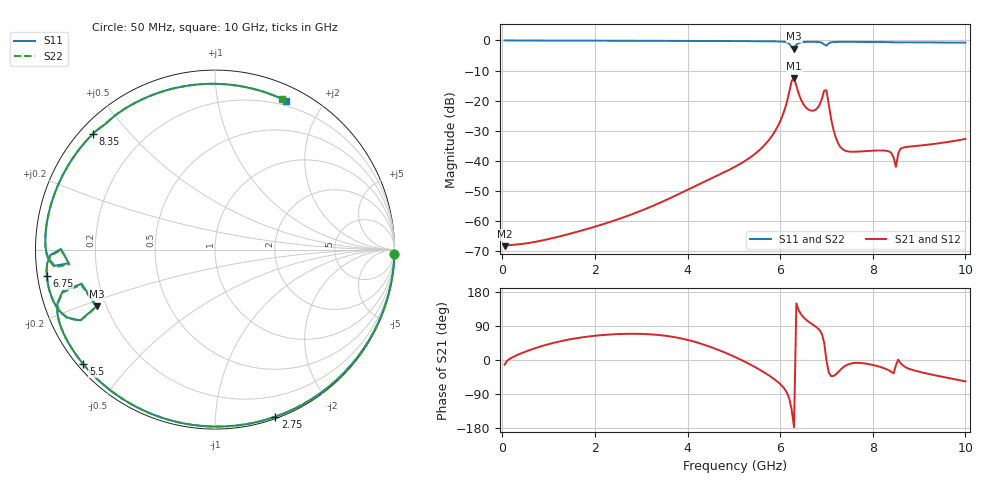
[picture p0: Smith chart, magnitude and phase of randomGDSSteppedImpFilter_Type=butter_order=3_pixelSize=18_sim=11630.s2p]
! freq	dB(S11)	phase(S11)	dB(S12)	phase(S12)
!  dB(S21)	phase(S21)	dB(S22)	phase(S22)
!S-par simulation data
#  GHz  S  DB  R 50
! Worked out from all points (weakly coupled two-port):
!   200 points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, 50 MHz to 10 GHz, reference 50 ohm
!   highest |S21| = -12.51 dB at 6.3 GHz (marker M1); lowest = -68.3 dB at 50 MHz (marker M2)
!   lowest |S11| = -2.7 dB at 6.3 GHz (marker M3), VSWR 6.44, Z = 8.16 - j11.1 ohm
!   |S11| at or under -10 dB: nowhere
!   |S22| runs from -2.7 to 0.0 dB; largest |S21 - S12| = 0
!   S11 on the Smith chart (normalised r, x): 50 MHz: 0, -87; 2.75 GHz: 0.02, -1.42; 5.5 GHz: 0.02, -0.37; 6.75 GHz: 0.03, -0.08; 8.35 GHz: 0.04, +0.40; 10 GHz: 0.15, +1.57
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0.05  -0.00 -1.3  -68.29 -12.5  -68.29 -12.5  -0.00 -1.3
1.75  -0.06 -45.1  -62.94 60.2  -62.94 60.2  -0.06 -45.1
2.75  -0.09 -70.1  -57.99 69.2  -57.99 69.2  -0.09 -70.1
3.4  -0.12 -86.1  -53.92 65.7  -53.92 65.7  -0.11 -86.1
5.05  -0.20 -127.1  -41.72 6.5  -41.72 6.5  -0.20 -126.9
5.5  -0.24 -138.9  -37.09 -21.6  -37.09 -21.6  -0.24 -138.7
5.95  -0.33 -152.4  -28.45 -58.0  -28.45 -58.0  -0.33 -152.1
6.15  -0.67 -161.4  -20.15 -87.2  -20.15 -87.2  -0.67 -161.1
6.25  -2.30 -165.7  -13.36 -132.4  -13.36 -132.4  -2.26 -165.3
6.3  -2.72 -154.4  -12.51 -177.3  -12.51 -177.3  -2.68 -154.2
6.5  -0.53 -160.8  -21.10 113.3  -21.10 113.3  -0.52 -160.5
6.7  -0.44 -169.0  -23.35 93.7  -23.35 93.7  -0.44 -168.7
6.75  -0.46 -171.0  -23.14 89.6  -23.14 89.6  -0.45 -170.7
7  -1.74 -174.7  -16.52 -1.2  -16.52 -1.2  -1.77 -174.3
7.15  -0.53 -179.4  -29.56 -42.3  -29.56 -42.3  -0.53 -178.9
7.35  -0.46 172.8  -36.12 -20.4  -36.12 -20.4  -0.46 173.3
8.35  -0.56 136.6  -36.82 -27.4  -36.82 -27.4  -0.56 137.4
8.5  -0.65 130.8  -41.97 -13.2  -41.97 -13.2  -0.65 131.7
8.55  -0.63 129.1  -37.46 1.0  -37.46 1.0  -0.63 130.0
8.65  -0.61 125.0  -35.60 -14.3  -35.60 -14.3  -0.61 126.0
9.35  -0.68 94.9  -34.30 -40.5  -34.30 -40.5  -0.68 96.0
10  -0.74 64.5  -32.70 -56.5  -32.70 -56.5  -0.74 65.9
